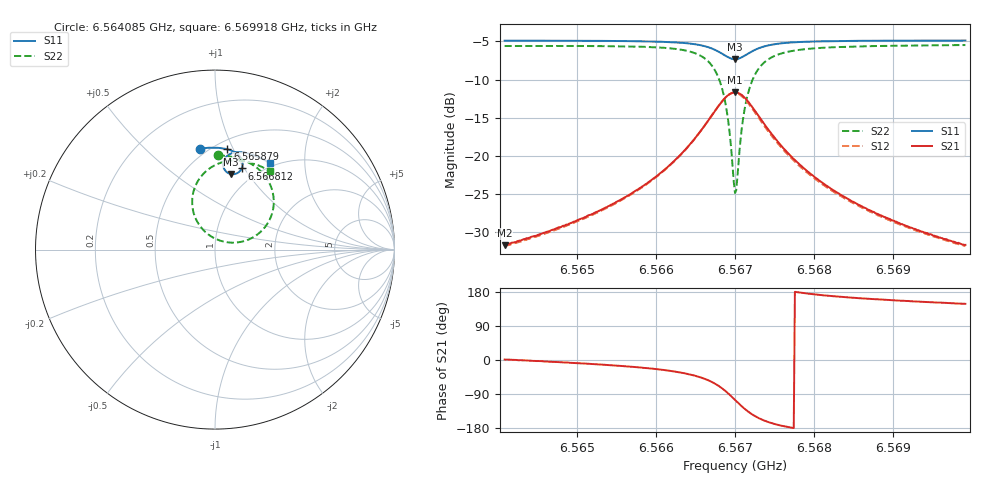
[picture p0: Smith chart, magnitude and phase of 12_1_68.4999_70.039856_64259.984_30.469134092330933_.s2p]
#  HZ  S  RI  R  50.00
! Rohde & Schwarz Vector Network Analyzer
! Rohde-Schwarz,ZNB20-2Port,1311601062101988,3.16
! Created: UTC 3/20/2024, 5:04:12 PM
! freq[Hz]  re:S11  im:S11  re:S21  im:S21  re:S12  im:S12  re:S22  im:S22
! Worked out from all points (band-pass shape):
!   401 points, 6.564085 GHz to 6.569918 GHz, reference 50 ohm
!   highest |S21| = -11.66 dB at 6.567002 GHz (marker M1); lowest = -31.7 dB at 6.564085 GHz (marker M2)
!   |S21| within 3 dB of the highest: 6.566711 GHz to 6.567294 GHz (583 kHz wide, 0.00888 % of centre)
!   lowest |S11| = -7.3 dB at 6.567002 GHz (marker M3), VSWR 2.51, Z = 40.4 + j41.7 ohm
!   |S11| at or under -10 dB: nowhere
!   |S22| runs from -24.9 to -5.5 dB; largest |S21 - S12| = 0.012
!   S11 on the Smith chart (normalised r, x): 6.564085 GHz: 0.45, +0.75; 6.565879 GHz: 0.58, +0.95; 6.566812 GHz: 0.83, +0.97; 6.569918 GHz: 0.94, +1.35
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6.5640848e9  -0.0836 0.5629  0.026 0.000581  0.0257 0.000207  0.0152 0.5246
6.565062e9  -0.00476 0.5679  0.0385 -0.00606  0.0378 -0.0067  0.1042 0.5144
6.5658787e9  0.0687 0.5589  0.0613 -0.0239  0.0603 -0.0246  0.2016 0.4771
6.5660391e9  0.0848 0.5541  0.0688 -0.0318  0.0678 -0.0327  0.2266 0.4609
6.5663453e9  0.1186 0.5374  0.0877 -0.0598  0.0864 -0.061  0.2819 0.4057
6.5665641e9  0.1434 0.512  0.1013 -0.1038  0.0992 -0.1056  0.3212 0.3207
6.5667099e9  0.1537 0.4815  0.0976 -0.1567  0.0938 -0.1595  0.3225 0.2195
6.566812e9  0.1488 0.4524  0.0718 -0.2069  0.0655 -0.2095  0.2786 0.1255
6.5668995e9  0.1288 0.4286  0.0205 -0.2454  0.0114 -0.2462  0.1857 0.0554
6.5669287e9  0.1184 0.4234  -0.00298 -0.2534  -0.0128 -0.2524  0.1432 0.0428
6.566987e9  0.0944 0.42  -0.0554 -0.2548  -0.0657 -0.2506  0.0503 0.0439
6.5670016e9  0.0882 0.4209  -0.0685 -0.2521  -0.0788 -0.2468  0.0275 0.0502
6.5670308e9  0.0765 0.4249  -0.0938 -0.2425  -0.1032 -0.2354  -0.0155 0.0698
6.5670891e9  0.0576 0.4397  -0.1348 -0.211  -0.1413 -0.2016  -0.0824 0.1299
6.5671329e9  0.049 0.4544  -0.1545 -0.1816  -0.1587 -0.1714  -0.1121 0.1838
6.5671912e9  0.0453 0.4742  -0.1671 -0.1419  -0.1685 -0.1323  -0.127 0.2544
6.5672641e9  0.0493 0.496  -0.167 -0.0997  -0.1661 -0.0914  -0.1186 0.3277
6.5675266e9  0.0884 0.5346  -0.1253 -0.0216  -0.1226 -0.0181  -0.0235 0.4571
6.5679787e9  0.147 0.5422  -0.0744 0.00799  -0.0727 0.00906  0.0964 0.4963
6.56846e9  0.1936 0.5331  -0.0495 0.0134  -0.0484 0.014  0.171 0.4912
6.5689559e9  0.2345 0.5188  -0.0359 0.0142  -0.0351 0.0146  0.2256 0.4759
6.5699184e9  0.3038 0.4834  -0.0222 0.0138  -0.0216 0.0138  0.3055 0.4362
